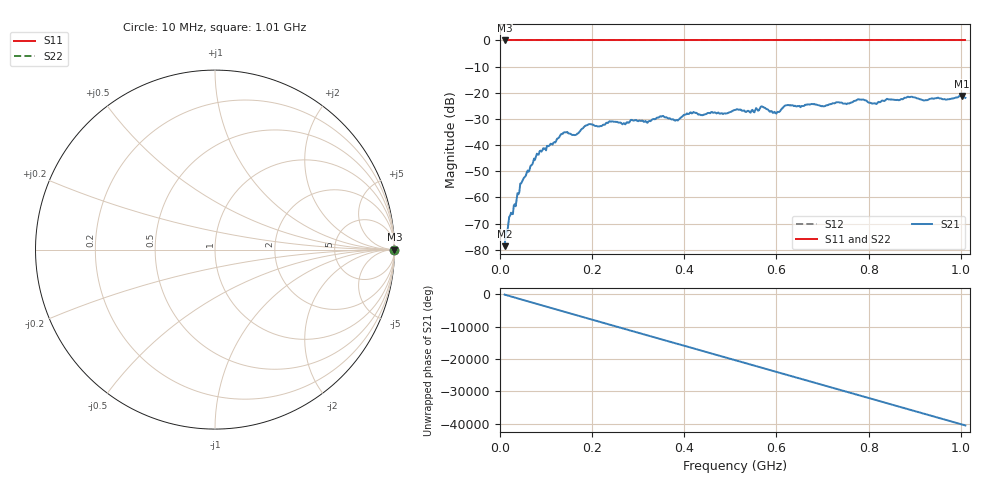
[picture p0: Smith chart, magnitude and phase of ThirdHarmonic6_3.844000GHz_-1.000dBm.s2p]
! 8/17/2025 1:23:53 PM
! C:\ANRITSUVNA\TEMP\TEMP.S2P
! CHANNEL.1
! TR.MEASUREMENT
! RAW.DATA
! RF.CORRECTION.OFF
! AVERAGING.OFF
! IF.BANDWIDTH: 5KHZ
! SWEEPTYPE:  FREQ.SWEEP(Linear)
! Reference Plane Port Info
! PORT:  PORT1  PORT2
! DISTANCE:  0  m  0  m
! TIME:  0  s  0  s
! PHASE.OFFSET:  0  deg.  0  deg.
! LOSS:  0  dB  0  dB
! REF.LOSS:  0  dB  0  dB
! REF.FREQ:  0  Hz  0  Hz
! Power Info
! POWER:  -20  dBm  -20  dBm
! EFF.POWER:  -20  dBm  -20  dBm
! SOURCE.ATTEN:  0  dB  0  dB
! TEST.ATTEN:  0  dB  0  dB
# GHZ S RI R 50.0
! FREQ.GHZ  S11RE  S11IM  S21RE  S21IM  S12RE  S12IM  S22RE  S22IM
!; PortSelection: Port_12
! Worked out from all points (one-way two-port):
!   501 points, 10 MHz to 1.01 GHz, reference 50 ohm
!   highest |S21| = -21.20 dB at 1.002 GHz (marker M1); lowest = -78.6 dB at 10 MHz (marker M2)
!   lowest |S11| = 0.0 dB at 10 MHz (marker M3)
!   |S11| at or under -10 dB: nowhere
!   |S22| runs from 0.0 to 0.0 dB; largest |S21 - S12| = 1.1
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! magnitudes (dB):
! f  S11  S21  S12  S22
! 10 MHz  0.0  -78.6  0.0  0.0
! 22 MHz  0.0  -66.9  0.0  0.0
! 48 MHz  0.0  -53.9  0.0  0.0
! 78 MHz  0.0  -44.3  0.0  0.0
! 136 MHz  0.0  -35.7  0.0  0.0
! 162 MHz  0.0  -36.2  0.0  0.0
! 178 MHz  0.0  -33.8  0.0  0.0
! 196 MHz  0.0  -32.0  0.0  0.0
! 322 MHz  0.0  -30.9  0.0  0.0
! 344 MHz  0.0  -29.5  0.0  0.0
! 382 MHz  0.0  -30.5  0.0  0.0
! 416 MHz  0.0  -27.9  0.0  0.0
! 510 MHz  0.0  -26.5  0.0  0.0
! 570 MHz  0.0  -25.4  0.0  0.0
! 596 MHz  0.0  -27.3  0.0  0.0
! 622 MHz  0.0  -24.8  0.0  0.0
! 678 MHz  0.0  -24.3  0.0  0.0
! 780 MHz  0.0  -22.6  0.0  0.0
! 814 MHz  0.0  -24.0  0.0  0.0
! 844 MHz  0.0  -22.6  0.0  0.0
! 1.002 GHz  0.0  -21.2  0.0  0.0
! 1.01 GHz  0.0  -21.9  0.0  0.0
